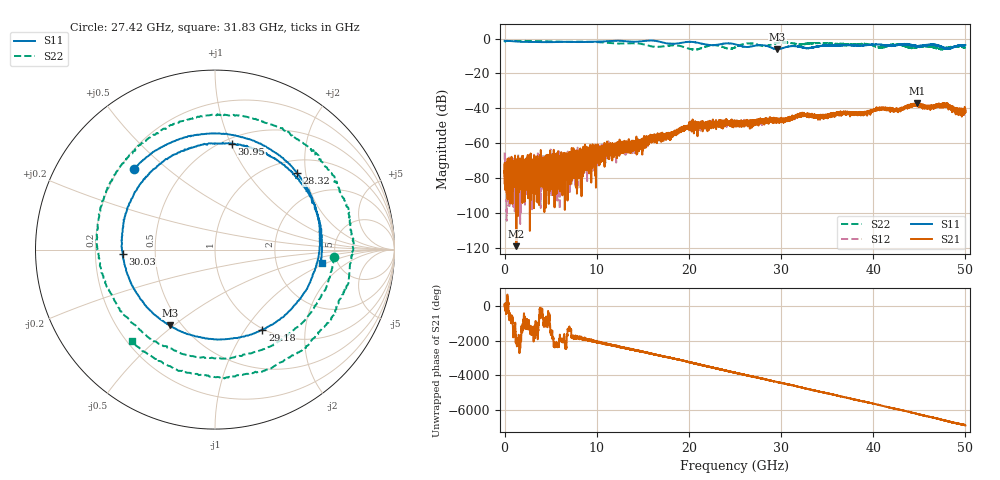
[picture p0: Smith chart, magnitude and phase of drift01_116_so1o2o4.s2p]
!Created with skrf (http://scikit-rf.org).
# Hz S RI R 50.0
!freq ReS11 ImS11 ReS21 ImS21 ReS12 ImS12 ReS22 ImS22
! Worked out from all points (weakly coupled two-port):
!   10001 points, 300 kHz to 50 GHz, reference 50 ohm
!   highest |S21| = -36.92 dB at 44.72 GHz (marker M1); lowest = -119.1 dB at 1.28 GHz (marker M2)
!   lowest |S11| = -6.2 dB at 29.61 GHz (marker M3), VSWR 2.93, Z = 21.8 - j24.2 ohm
!   |S11| at or under -10 dB: nowhere
!   |S22| runs from -6.4 to -1.4 dB; largest |S21 - S12| = 0.0033
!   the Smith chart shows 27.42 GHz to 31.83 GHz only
!   S11 on the Smith chart (normalised r, x): 27.42 GHz: 0.26, +0.39; 28.32 GHz: 1.29, +1.79; 29.18 GHz: 0.99, -1.20; 30.03 GHz: 0.32, -0.02; 30.95 GHz: 0.55, +1.01; 31.83 GHz: 3.77, -0.85
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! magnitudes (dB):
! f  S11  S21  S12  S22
! 300 kHz  -1.3  -76.8  -65.3  -2.1
! 265.3 MHz  -1.4  -79.2  -78.9  -1.4
! 1.28 GHz  -1.7  -119.1  -71.9  -1.4
! 4.665 GHz  -2.1  -76.6  -75.8  -1.6
! 8.335 GHz  -2.0  -72.0  -69.2  -1.8
! 10.3 GHz  -1.8  -69.4  -64.5  -2.2
! 16.67 GHz  -1.6  -55.9  -56.6  -4.8
! 20.62 GHz  -2.1  -51.9  -48.9  -6.3
! 22.6 GHz  -3.8  -46.5  -49.2  -3.8
! 25 GHz  -3.3  -50.0  -48.7  -5.1
! 27.42 GHz  -3.9  -48.0  -47.9  -3.5
! 28.32 GHz  -4.1  -46.4  -47.1  -4.3
! 29.18 GHz  -5.7  -46.5  -46.8  -3.0
! 29.61 GHz  -6.2  -46.7  -46.7  -2.6
! 30.03 GHz  -5.8  -45.4  -47.1  -2.3
! 30.95 GHz  -4.5  -45.9  -46.0  -2.5
! 31.83 GHz  -4.5  -43.7  -44.0  -3.2
! 33.34 GHz  -5.2  -43.5  -44.2  -2.7
! 41.67 GHz  -4.3  -40.0  -40.7  -4.1
! 44.72 GHz  -4.6  -36.9  -37.8  -5.2
! 47.67 GHz  -5.5  -37.0  -37.9  -6.0
! 50 GHz  -3.7  -40.6  -41.8  -5.3
